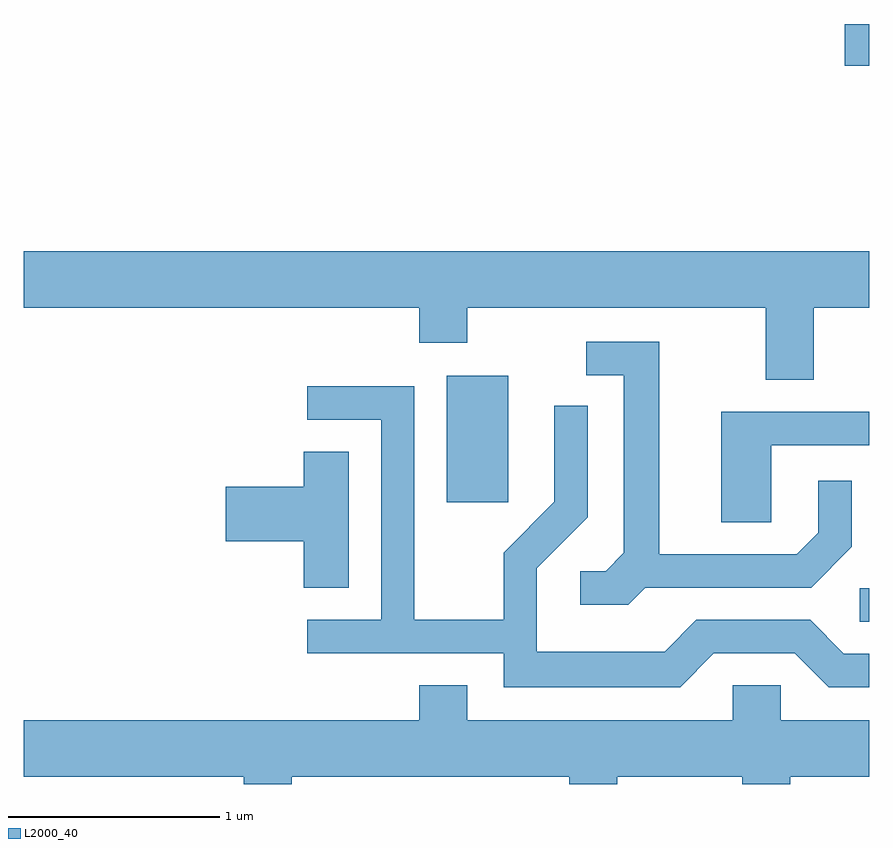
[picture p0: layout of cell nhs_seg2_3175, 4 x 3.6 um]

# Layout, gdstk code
import gdstk
lib = gdstk.Library(unit=1e-6, precision=1e-09)
def R(c, l, rs):  # rectangles x0, y0, x1, y1
    for r in rs: c.add(gdstk.rectangle(r[:2], r[2:], *l))
def P(c, l, *ps):  # polygons
    for p in ps: c.add(gdstk.Polygon(p, *l))
L2000_40 = (2000, 40)

nhs_seg2_3175 = lib.new_cell('nhs_seg2_3175')
R(nhs_seg2_3175, L2000_40, [(281.568,1084.571,281.611,1084.729), (279.611,1085.136,279.904,1085.734), (281.496,1087.201,281.611,1087.399)])
P(nhs_seg2_3175, L2000_40, [(281.349,1086.056),(281.611,1086.056),(281.611,1086.324),(277.611,1086.324),(277.611,1086.056),(279.481,1086.056),(279.481,1085.891),(279.709,1085.891),(279.709,1086.056),(281.121,1086.056),(281.121,1085.716),(281.349,1085.716)],
  [(280.552,1084.731),(281.337,1084.731),(281.529,1084.924),(281.529,1085.238),(281.371,1085.238),(281.371,1084.992),(281.269,1084.889),(280.619,1084.889),(280.619,1085.894),(280.273,1085.894),(280.273,1085.736),(280.451,1085.736),(280.451,1084.897),(280.364,1084.809),(280.243,1084.809),(280.243,1084.651),(280.472,1084.651)],
  [(280.877,1084.421),(281.259,1084.421),(281.419,1084.261),(281.611,1084.261),(281.611,1084.419),(281.492,1084.419),(281.332,1084.579),(280.794,1084.579),(280.644,1084.429),(280.039,1084.429),(280.039,1084.824),(280.279,1085.064),(280.279,1085.593),(280.121,1085.593),(280.121,1085.137),(279.881,1084.897),(279.881,1084.579),(279.459,1084.579),(279.459,1085.684),(278.953,1085.684),(278.953,1085.526),(279.301,1085.526),(279.301,1084.579),(278.953,1084.579),(278.953,1084.421),(279.881,1084.421),(279.881,1084.261),(280.717,1084.261)],
  [(281.149,1085.406),(281.611,1085.406),(281.611,1085.564),(280.911,1085.564),(280.911,1085.041),(281.149,1085.041)],
  [(279.149,1085.374),(278.936,1085.374),(278.936,1085.209),(278.566,1085.209),(278.566,1084.951),(278.936,1084.951),(278.936,1084.731),(279.149,1084.731)],
  [(278.879,1083.836),(280.191,1083.836),(280.191,1083.802),(280.419,1083.802),(280.419,1083.836),(281.011,1083.836),(281.011,1083.802),(281.239,1083.802),(281.239,1083.836),(281.611,1083.836),(281.611,1084.104),(281.194,1084.104),(281.194,1084.269),(280.966,1084.269),(280.966,1084.104),(279.709,1084.104),(279.709,1084.269),(279.481,1084.269),(279.481,1084.104),(277.611,1084.104),(277.611,1083.836),(278.651,1083.836),(278.651,1083.802),(278.879,1083.802)])

lib.write_gds('nhs_seg2_3175.gds')
